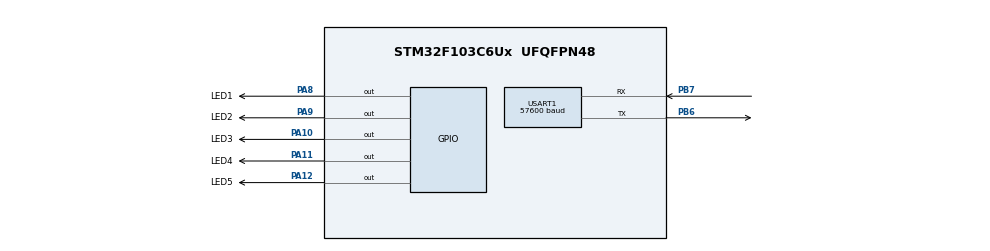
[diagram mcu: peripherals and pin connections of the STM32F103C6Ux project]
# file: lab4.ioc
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Mcu.Family=STM32F1
Mcu.Name=STM32F103C6Ux
Mcu.Package=UFQFPN48
NVIC.PriorityGroup=NVIC_PRIORITYGROUP_4
NVIC.TIM2_IRQn=true\:0\:0\:false\:false\:true\:true\:true
PA10.GPIO_Label=LED3
PA10.PinState=GPIO_PIN_SET
PA10.Signal=GPIO_Output
PA11.GPIO_Label=LED4
PA11.PinState=GPIO_PIN_SET
PA11.Signal=GPIO_Output
PA12.GPIO_Label=LED5
PA12.PinState=GPIO_PIN_SET
PA12.Signal=GPIO_Output
PA8.GPIO_Label=LED1
PA8.PinState=GPIO_PIN_SET
PA8.Signal=GPIO_Output
PA9.GPIO_Label=LED2
PA9.PinState=GPIO_PIN_SET
PA9.Signal=GPIO_Output
PB6.Mode=Asynchronous
PB6.Signal=USART1_TX
PB7.Mode=Asynchronous
PB7.Signal=USART1_RX
ProjectManager.HeapSize=0x200
ProjectManager.StackSize=0x400
ProjectManager.TargetToolchain=STM32CubeIDE
RCC.APB1Freq_Value=8000000
RCC.APB2Freq_Value=8000000
TIM2.Period=9
TIM2.Prescaler=7999
USART1.BaudRate=57600
USART1.VirtualMode=VM_ASYNC
VP_SYS_VS_ND.Mode=No_Debug
VP_TIM2_VS_ClockSourceINT.Mode=Internal
board=custom

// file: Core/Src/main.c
/* USER CODE BEGIN Header */
/**
  ******************************************************************************
  * @file           : main.c
  * @brief          : Main program body
  ******************************************************************************
  * @attention
  *
  * <h2><center>&copy; Copyright (c) 2026 STMicroelectronics.
  * All rights reserved.</center></h2>
  *
  * This software component is licensed by ST under BSD 3-Clause license,
  * the "License"; You may not use this file except in compliance with the
  * License. You may obtain a copy of the License at:
  *                        opensource.org/licenses/BSD-3-Clause
  *
  ******************************************************************************
  */
/* USER CODE END Header */
#include "main.h"

/* USER CODE BEGIN Includes */
#include "scheduler.h"
#include <stdio.h>
#include <string.h>
/* USER CODE END Includes */

TIM_HandleTypeDef htim2;

UART_HandleTypeDef huart1;

void SystemClock_Config(void);
static void MX_GPIO_Init(void);
static void MX_TIM2_Init(void);
static void MX_USART1_UART_Init(void);

/* USER CODE BEGIN 0 */

static uint32_t task3ID;

void UART_Log(const char *message) {
    char buffer[96];

    int len = snprintf(buffer, sizeof(buffer),
                       "%s\r\n", message);

    if (len > 0 && len < sizeof(buffer)) {
        HAL_UART_Transmit(&huart1,
                          (uint8_t *)buffer,
                          (uint16_t)len, 100);
    }
}

void Task_Time(void) {
    char buffer[32];

    snprintf(buffer, sizeof(buffer), "Time: %lu ms",
             (unsigned long)get_time());

    UART_Log(buffer);
}

void Task_OneShot(void) {
    UART_Log("One-shot task executed");
}

void Task_1(void) {
    HAL_GPIO_TogglePin(GPIOA, GPIO_PIN_8);
    UART_Log("Task 1 (50 ticks)");
}

void Task_2(void) {
    HAL_GPIO_TogglePin(GPIOA, GPIO_PIN_9);
    UART_Log("Task 2 (100 ticks)");
}

void Task_3(void) {
    HAL_GPIO_TogglePin(GPIOA, GPIO_PIN_10);
    UART_Log("Task 3 (150 ticks)");
}

void Task_4(void) {
    HAL_GPIO_TogglePin(GPIOA, GPIO_PIN_11);
    UART_Log("Task 4 (200 ticks)");
}

void Task_5(void) {
    HAL_GPIO_TogglePin(GPIOA, GPIO_PIN_12);
    UART_Log("Task 5 (250 ticks)");
}

void Task_Delete_3(void) {
    if (SCH_Delete_Task(task3ID)) {
        UART_Log("Task 3 (150 ticks) deleted");
    } else {
        UART_Log("Failed to delete Task 3");
    }
}

void HAL_TIM_PeriodElapsedCallback(TIM_HandleTypeDef *htim) {
    if (htim->Instance == TIM2) {
        SCH_Update();
    }
}

/* USER CODE END 0 */

int main(void)
{

  /* MCU Configuration--------------------------------------------------------*/

  /* Reset of all peripherals, Initializes the Flash interface and the Systick. */
  HAL_Init();

  /* Configure the system clock */
  SystemClock_Config();

  /* Initialize all configured peripherals */
  MX_GPIO_Init();
  MX_TIM2_Init();
  MX_USART1_UART_Init();
  /* USER CODE BEGIN 2 */
  SCH_Init();

  // Print time every 10 ms
  SCH_Add_Task(Task_Time, 1, 1);

  // Five periodic tasks
  SCH_Add_Task(Task_1, 50, 50);
  SCH_Add_Task(Task_2, 100, 100);
  task3ID = SCH_Add_Task(Task_3, 150, 150);
  SCH_Add_Task(Task_4, 200, 200);
  SCH_Add_Task(Task_5, 250, 250);
  SCH_Add_Task(Task_OneShot, 250, 0);

  // Delete Task 3 at 4 seconds
  SCH_Add_Task(Task_Delete_3, 400, 0);

  HAL_TIM_Base_Start_IT(&htim2);
  /* USER CODE END 2 */

  /* Infinite loop */
  while (1)
  {
	  SCH_Dispatch_Tasks();
  }
}

void SystemClock_Config(void)
{
  RCC_OscInitTypeDef RCC_OscInitStruct = {0};
  RCC_ClkInitTypeDef RCC_ClkInitStruct = {0};

  /** Initializes the RCC Oscillators according to the specified parameters
  * in the RCC_OscInitTypeDef structure.
  */
  RCC_OscInitStruct.OscillatorType = RCC_OSCILLATORTYPE_HSI;
  RCC_OscInitStruct.HSIState = RCC_HSI_ON;
  RCC_OscInitStruct.HSICalibrationValue = RCC_HSICALIBRATION_DEFAULT;
  RCC_OscInitStruct.PLL.PLLState = RCC_PLL_NONE;
  if (HAL_RCC_OscConfig(&RCC_OscInitStruct) != HAL_OK)
  {
    Error_Handler();
  }
  /** Initializes the CPU, AHB and APB buses clocks
  */
  RCC_ClkInitStruct.ClockType = RCC_CLOCKTYPE_HCLK|RCC_CLOCKTYPE_SYSCLK
                              |RCC_CLOCKTYPE_PCLK1|RCC_CLOCKTYPE_PCLK2;
  RCC_ClkInitStruct.SYSCLKSource = RCC_SYSCLKSOURCE_HSI;
  RCC_ClkInitStruct.AHBCLKDivider = RCC_SYSCLK_DIV1;
  RCC_ClkInitStruct.APB1CLKDivider = RCC_HCLK_DIV1;
  RCC_ClkInitStruct.APB2CLKDivider = RCC_HCLK_DIV1;

  if (HAL_RCC_ClockConfig(&RCC_ClkInitStruct, FLASH_LATENCY_0) != HAL_OK)
  {
    Error_Handler();
  }
}

static void MX_TIM2_Init(void)
{

  TIM_ClockConfigTypeDef sClockSourceConfig = {0};
  TIM_MasterConfigTypeDef sMasterConfig = {0};

  htim2.Instance = TIM2;
  htim2.Init.Prescaler = 7999;
  htim2.Init.CounterMode = TIM_COUNTERMODE_UP;
  htim2.Init.Period = 9;
  htim2.Init.ClockDivision = TIM_CLOCKDIVISION_DIV1;
  htim2.Init.AutoReloadPreload = TIM_AUTORELOAD_PRELOAD_DISABLE;
  if (HAL_TIM_Base_Init(&htim2) != HAL_OK)
  {
    Error_Handler();
  }
  sClockSourceConfig.ClockSource = TIM_CLOCKSOURCE_INTERNAL;
  if (HAL_TIM_ConfigClockSource(&htim2, &sClockSourceConfig) != HAL_OK)
  {
    Error_Handler();
  }
  sMasterConfig.MasterOutputTrigger = TIM_TRGO_RESET;
  sMasterConfig.MasterSlaveMode = TIM_MASTERSLAVEMODE_DISABLE;
  if (HAL_TIMEx_MasterConfigSynchronization(&htim2, &sMasterConfig) != HAL_OK)
  {
    Error_Handler();
  }

}

static void MX_USART1_UART_Init(void)
{

  huart1.Instance = USART1;
  huart1.Init.BaudRate = 57600;
  huart1.Init.WordLength = UART_WORDLENGTH_8B;
  huart1.Init.StopBits = UART_STOPBITS_1;
  huart1.Init.Parity = UART_PARITY_NONE;
  huart1.Init.Mode = UART_MODE_TX_RX;
  huart1.Init.HwFlowCtl = UART_HWCONTROL_NONE;
  huart1.Init.OverSampling = UART_OVERSAMPLING_16;
  if (HAL_UART_Init(&huart1) != HAL_OK)
  {
    Error_Handler();
  }

}

static void MX_GPIO_Init(void)
{
  GPIO_InitTypeDef GPIO_InitStruct = {0};

  /* GPIO Ports Clock Enable */
  __HAL_RCC_GPIOA_CLK_ENABLE();
  __HAL_RCC_GPIOB_CLK_ENABLE();

  /*Configure GPIO pin Output Level */
  HAL_GPIO_WritePin(GPIOA, LED1_Pin|LED2_Pin|LED3_Pin|LED4_Pin
                          |LED5_Pin, GPIO_PIN_SET);

  /*Configure GPIO pins : LED1_Pin LED2_Pin LED3_Pin LED4_Pin
                           LED5_Pin */
  GPIO_InitStruct.Pin = LED1_Pin|LED2_Pin|LED3_Pin|LED4_Pin
                          |LED5_Pin;
  GPIO_InitStruct.Mode = GPIO_MODE_OUTPUT_PP;
  GPIO_InitStruct.Pull = GPIO_NOPULL;
  GPIO_InitStruct.Speed = GPIO_SPEED_FREQ_LOW;
  HAL_GPIO_Init(GPIOA, &GPIO_InitStruct);

}

void Error_Handler(void)
{
  __disable_irq();
  while (1)
  {
  }
}

/************************ (C) COPYRIGHT STMicroelectronics *****END OF FILE****/
